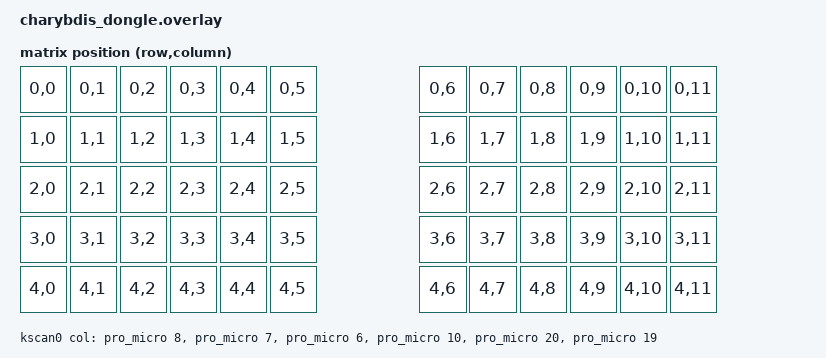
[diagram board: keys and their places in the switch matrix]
#include "charybdis.dtsi"

#define INPUT_EV_KEY 0x01               /**< Key event */
#define INPUT_EV_REL 0x02               /**< Relative coordinate event */
#define INPUT_EV_ABS 0x03               /**< Absolute coordinate event */
#define INPUT_EV_MSC 0x04               /**< Miscellaneous event */
#define INPUT_EV_VENDOR_START 0xf0      /**< Vendor specific event start */
#define INPUT_EV_VENDOR_STOP 0xff       /**< Vendor specific event stop */

#define INPUT_REL_X 0x00                /**< Relative X coordinate */
#define INPUT_REL_Y 0x01                /**< Relative Y coordinate */
#define INPUT_REL_WHEEL 0x08            /**< Relative wheel coordinate */
#define INPUT_REL_HWHEEL 0x06           /**< Relative horizontal wheel coordinate */
#define INPUT_REL_MISC 0x09             /**< Relative misc coordinate */

/ {
    chosen {
        zmk,kscan = &kscan0;
        zmk,matrix-transform = &default_transform;
        zephyr,display = &oled;
    };

    default_transform: keymap_transform_0 {
        compatible = "zmk,matrix-transform";
        columns = <12>;
        rows = <5>;
// | SW6  | SW5  | SW4  | SW3  | SW2  | SW1  |                 | SW1  | SW2  | SW3  | SW4  | SW5  | SW6  |
// | SW12 | SW11 | SW10 | SW9  | SW8  | SW7  |                 | SW7  | SW8  | SW9  | SW10 | SW11 | SW12 |
// | SW18 | SW17 | SW16 | SW15 | SW14 | SW13 |                 | SW13 | SW14 | SW15 | SW16 | SW17 | SW18 |
// | SW24 | SW23 | SW22 | SW21 | SW20 | SW19 | SW25 |   | SW25 | SW19 | SW20 | SW21 | SW22 | SW23 | SW24 |
//               | SW30 | SW29 | SW28 | SW27 | SW26 |   | SW26 | SW27 | SW28 | SW29 | SW30 |
        map = <
RC(0,0) RC(0,1) RC(0,2) RC(0,3) RC(0,4) RC(0,5)                  RC(0,6) RC(0,7) RC(0,8)  RC(0,9) RC(0,10) RC(0,11)
RC(1,0) RC(1,1) RC(1,2) RC(1,3) RC(1,4) RC(1,5)                  RC(1,6) RC(1,7) RC(1,8)  RC(1,9) RC(1,10) RC(1,11)
RC(2,0) RC(2,1) RC(2,2) RC(2,3) RC(2,4) RC(2,5)                  RC(2,6) RC(2,7) RC(2,8)  RC(2,9) RC(2,10) RC(2,11)
RC(3,0) RC(3,1) RC(3,2) RC(3,3) RC(3,4) RC(3,5)                  RC(3,6) RC(3,7) RC(3,8)  RC(3,9) RC(3,10) RC(3,11)
RC(4,0) RC(4,1) RC(4,2) RC(4,3) RC(4,4) RC(4,5)                  RC(4,6) RC(4,7) RC(4,8)  RC(4,9) RC(4,10) RC(4,11)
        >;
    };

    kscan0: kscan {
        col-gpios
        = <&pro_micro 8 (GPIO_ACTIVE_HIGH | GPIO_PULL_DOWN)>
        , <&pro_micro 7 (GPIO_ACTIVE_HIGH | GPIO_PULL_DOWN)>
        , <&pro_micro 6 (GPIO_ACTIVE_HIGH | GPIO_PULL_DOWN)>
        , <&pro_micro 10 (GPIO_ACTIVE_HIGH | GPIO_PULL_DOWN)>
        , <&pro_micro 20 (GPIO_ACTIVE_HIGH | GPIO_PULL_DOWN)>
        , <&pro_micro 19 (GPIO_ACTIVE_HIGH | GPIO_PULL_DOWN)>
        ;
    };
};


#include "charybdis_trackball.dtsi"


/ {
	/* define virtual input, will be resurrected for emitting input event */
	/* NOTE: set `device = <&pd1>` in `zmk,input-listener` */
	pd1: virtual_input {
		compatible = "zmk,virtual-input";
	};
};

/ {
	/* for central side, define (relay-channel)-to-(virtual-input) mapping */
	input_relay_config_102 {
		compatible = "zmk,split-peripheral-input-relay";
		
		/* channel id, used to filter incoming annotated input event from split peripheral */
		/* NOTE: should matching relay-channel on peripheral overlay */
		relay-channel = <102>;

		/* virtual input device on central, which used to emit input event as an agent device */
		device = <&pd1>;
	};
};

/{
  trackball_listener { 
    compatible = "zmk,input-listener";
    device = <&pd1>;
  };
};

/{
  /* auto toggle mouse key layer */
  trackball_peripheral_auto_mouse_listener {
        compatible = "zmk,input-behavior-listener";
        device = <&pd1>;
        layers = <0 4>;
	    evt-type = <INPUT_EV_REL>;
	    x-input-code = <INPUT_REL_X>;
	    y-input-code = <INPUT_REL_Y>;
        rotate-deg = <310>;
	    scale-multiplier = <1>;
	    scale-divisor = <1>;
        y-invert;
        bindings = <&ib_tog_layer 4>;
   };

   /* input config for mouse scroll mode on momentary mouse scoll layer */
   trackball_peripheral_scroll_listener {
           compatible = "zmk,input-behavior-listener";
           device = <&pd1>;
           layers = <5>;
           evt-type = <INPUT_EV_REL>;
           /* slienting x-axis with alt event code */
           x-input-code = <INPUT_REL_MISC>;
           y-input-code = <INPUT_REL_WHEEL>;   
           /* invent scrolling direction */
           rotate-deg = <310>;
           /* y-invert; */
           scale-multiplier = <1>;
           scale-divisor = <2>;
           /* NOTE 1: This settings do not compitable with y-invert and x-invert */
           /* NOTE 2: Floating point computation requires alot of ram. */
           /*         This feature will cuase stackove flow with CONFIG_ZMK_USB_LOGGING=y *   
           /* bind a behavior to down scaling input value to (1/8) */
           /* NOTE: This behavior is different to scale-divisor. */
           /*       The delta value is accumlated until result >= 1 after cast. */
           /*       The scrolling is preented in hi-res and allow precise scrolling */
           /*bindings = <&ib_wheel_scaler_x 1 1 &ib_wheel_scaler_y 1 8>;*/
           bindings = <&ib_wheel_scaler 1 16>;
   };

   /* adjust cooldown waiting period for mouse key layer (MSK) after activated */
   ib_tog_layer: ib_tog_layer {
        compatible = "zmk,input-behavior-tog-layer";
        #binding-cells = <1>;
        time-to-live-ms = <360000>;
    };

    /* define a resolution down scaler only for INPUT_REL_WHEEL */
        ib_wheel_scaler: ib_wheel_scaler {
                compatible = "zmk,input-behavior-scaler";
                #binding-cells = <2>;
                evt-type = <INPUT_EV_REL>;
                input-code = <INPUT_REL_WHEEL>;
        };

    /* define a resolution down scaler only for INPUT_REL_WHEEL */
    ib_wheel_scaler_x: ib_wheel_scaler_x {
        compatible = "zmk,input-behavior-scaler";
        #binding-cells = <2>;
        evt-type = <INPUT_EV_REL>;
        input-code = <INPUT_REL_HWHEEL>;
    };

    ib_wheel_scaler_y: ib_wheel_scaler_y {
        compatible = "zmk,input-behavior-scaler";
        #binding-cells = <2>;
        evt-type = <INPUT_EV_REL>;
        input-code = <INPUT_REL_WHEEL>;
    };

    ib_snipe_scaler_x: ib_snipe_scaler_x {
        compatible = "zmk,input-behavior-scaler";
        #binding-cells = <2>;
        evt-type = <INPUT_EV_REL>;
        input-code = <INPUT_REL_X>;
    };

    ib_snipe_scaler_y: ib_snipe_scaler_y {
        compatible = "zmk,input-behavior-scaler";
        #binding-cells = <2>;
        evt-type = <INPUT_EV_REL>;
        input-code = <INPUT_REL_Y>;
    };
};

&pinctrl {
    i2c0_default: i2c0_default {
        group1 {
            psels = <NRF_PSEL(TWIM_SDA, 1, 11)>,
                <NRF_PSEL(TWIM_SCL, 1, 13)>;
        };
    };

    i2c0_sleep: i2c0_sleep {
        group1 {
            psels = <NRF_PSEL(TWIM_SDA, 1, 11)>,
                <NRF_PSEL(TWIM_SCL, 1, 13)>;
            low-power-enable;
        };
    };	
}; 

&i2c0 {
	status = "okay";
	compatible = "nordic,nrf-twi";
    pinctrl-0 = <&i2c0_default>;
    pinctrl-1 = <&i2c0_sleep>;
	oled: sh1106@3c {
        compatible = "sinowealth,sh1106";
        reg = <0x3c>;
        width = <129>;
        height = <64>;
        segment-offset = <1>;
        page-offset = <0>;
        display-offset = <0>;
        multiplex-ratio = <63>;
        segment-remap;
        com-invdir;
        inversion-on;
        prechargep = <0x22>;
	};
};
